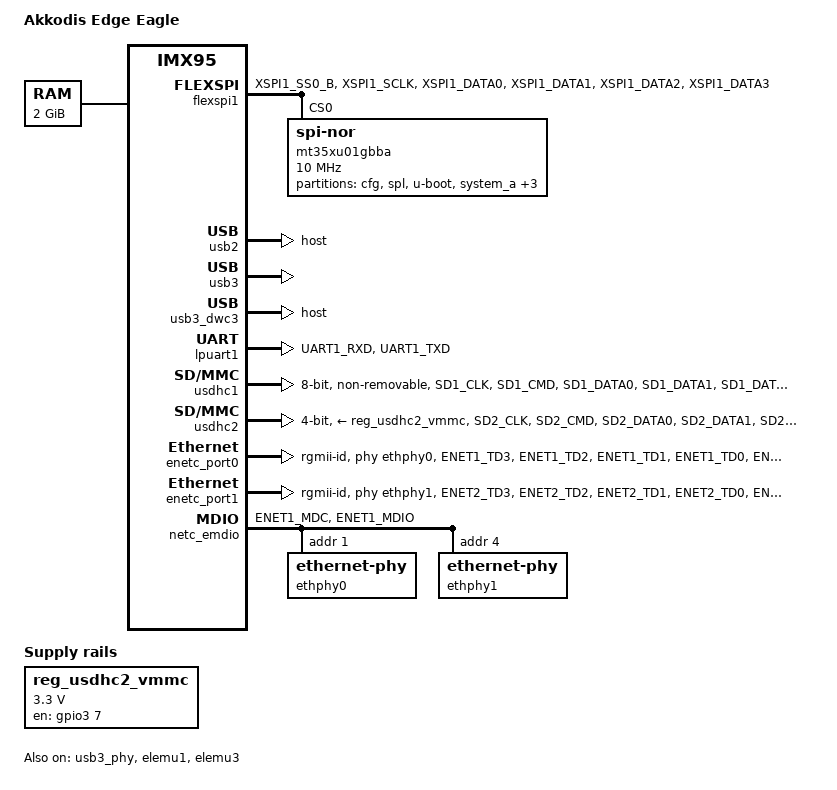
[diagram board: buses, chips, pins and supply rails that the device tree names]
// SPDX-License-Identifier: GPL-2.0+
/*
 * Copyright 2026 Akkodis Edge
 */

/dts-v1/;

#include <dt-bindings/usb/pd.h>
#include "imx95.dtsi"

/ {
	model = "Akkodis Edge Eagle";
	compatible = "ake,eagle", "fsl,imx95";

	chosen {
		stdout-path = &lpuart1;
	};

	memory@80000000 {
		device_type = "memory";
		reg = <0x0 0x80000000 0 0x80000000>;
	};

	reg_usdhc2_vmmc: regulator-usdhc2 {
		compatible = "regulator-fixed";
		pinctrl-names = "default";
		pinctrl-0 = <&pinctrl_reg_usdhc2_vmmc>;
		regulator-name = "VDD_SD2_3V3";
		regulator-min-microvolt = <3300000>;
		regulator-max-microvolt = <3300000>;
		gpio = <&gpio3 7 GPIO_ACTIVE_HIGH>;
		off-on-delay-us = <12000>;
		enable-active-high;
	};
};

&flexspi1 {
	pinctrl-names = "default";
	pinctrl-0 = <&pinctrl_flexspi1>;
	status = "okay";

	mt35xu01gbba: flash@0 {
		reg = <0>;
		#address-cells = <1>;
		#size-cells = <1>;
		compatible = "jedec,spi-nor";
		/*
		 * FIXME: Limit to fairly low frequency to start with,
		 * come back here and find a higher and stable
		 * frequency.
		 */
		spi-max-frequency = <10000000>;
		spi-tx-bus-width = <1>;
		spi-rx-bus-width = <1>;

		partitions {
			compatible = "fixed-partitions";
			#address-cells = <1>;
			#size-cells = <1>;

			cfg@0 {
				/*
				 * 0x0 OFTAD key blob
				 * 0x400 FlexSPI Config Block
				 */
				label = "cfg";
				reg = <0x000000 0x001000>;
			};
			spl@1000 {
				label = "spl";
				reg = <0x001000 0x1ff000>;
			};
			u-boot@200000 {
				label = "u-boot";
				reg = <0x200000 0x200000>;
			};
			system_a@400000 {
				label = "system_a";
				reg = <0x400000 0x010000>;
			};
			system_b@410000 {
				label = "system_b";
				reg = <0x410000 0x010000>;
			};
			user_a@420000 {
				label = "user_a";
				reg = <0x420000 0x010000>;
			};
			user_b@430000 {
				label = "user_b";
				reg = <0x430000 0x010000>;
			};
		};
	};
};

&usb2 {
	compatible = "fsl,imx8mm-usb", "fsl,imx7d-usb";
	dr_mode = "host";
	hnp-disable;
	srp-disable;
	adp-disable;
	disable-over-current;
	status = "okay";
	/delete-property/power-domains;
};

&usb3 {
	status = "okay";
	/delete-property/power-domains;
};

&usb3_phy {
	status = "okay";
};

&usb3_dwc3 {
	compatible = "fsl,imx95a-dwc3", "fsl,imx8mq-dwc3", "snps,dwc3";
	dr_mode = "host";
	hnp-disable;
	srp-disable;
	adp-disable;
	usb-role-switch;
	role-switch-default-mode = "none";
	snps,dis-u1-entry-quirk;
	snps,dis-u2-entry-quirk;
	status = "okay";
};

&lpuart1 {
	/* console */
	pinctrl-names = "default";
	pinctrl-0 = <&pinctrl_uart1>;
	clocks = <&scmi_clk IMX95_CLK_LPUART1>, <&scmi_clk IMX95_CLK_LPUART1>;
	clock-names = "ipg", "per";
	status = "okay";
};

&usdhc1 {
	pinctrl-names = "default", "state_100mhz", "state_200mhz";
	pinctrl-0 = <&pinctrl_usdhc1>;
	pinctrl-1 = <&pinctrl_usdhc1_100mhz>;
	pinctrl-2 = <&pinctrl_usdhc1_200mhz>;
	bus-width = <8>;
	non-removable;
	no-sdio;
	no-sd;
	status = "okay";
};

&usdhc2 {
	pinctrl-names = "default", "state_100mhz", "state_200mhz";
	pinctrl-0 = <&pinctrl_usdhc2>, <&pinctrl_usdhc2_gpio>;
	pinctrl-1 = <&pinctrl_usdhc2_100mhz>, <&pinctrl_usdhc2_gpio>;
	pinctrl-2 = <&pinctrl_usdhc2_200mhz>, <&pinctrl_usdhc2_gpio>;
	cd-gpios = <&gpio3 00 GPIO_ACTIVE_LOW>;
	vmmc-supply = <&reg_usdhc2_vmmc>;
	bus-width = <4>;
	status = "okay";
};

&enetc_port0 {
	pinctrl-names = "default";
	pinctrl-0 = <&pinctrl_enetc0>;
	phy-handle = <&ethphy0>;
	phy-mode = "rgmii-id";
	status = "okay";
};

&enetc_port1 {
	pinctrl-names = "default";
	pinctrl-0 = <&pinctrl_enetc1>;
	phy-handle = <&ethphy1>;
	phy-mode = "rgmii-id";
	status = "okay";
};

&netc_emdio {
	pinctrl-names = "default";
	pinctrl-0 = <&pinctrl_emdio>;
	status = "okay";

	ethphy0: ethernet-phy@1 {
		reg = <1>;
		eee-broken-1000t;
		reset-assert-us = <10000>;
		reset-deassert-us = <80000>;
	};

	ethphy1: ethernet-phy@4 {
		reg = <4>;
		eee-broken-1000t;
		reset-assert-us = <10000>;
		reset-deassert-us = <80000>;
	};
};

&scmi_iomuxc {
	pinctrl_emdio: emdiogrp{
		fsl,pins = <
			IMX95_PAD_ENET1_MDC__NETCMIX_TOP_NETC_MDC		0x57e
			IMX95_PAD_ENET1_MDIO__NETCMIX_TOP_NETC_MDIO		0x97e
		>;
	};

	pinctrl_enetc0: enetc0grp {
		fsl,pins = <
			IMX95_PAD_ENET1_TD3__NETCMIX_TOP_ETH0_RGMII_TD3		0x57e
			IMX95_PAD_ENET1_TD2__NETCMIX_TOP_ETH0_RGMII_TD2		0x57e
			IMX95_PAD_ENET1_TD1__NETCMIX_TOP_ETH0_RGMII_TD1		0x57e
			IMX95_PAD_ENET1_TD0__NETCMIX_TOP_ETH0_RGMII_TD0		0x57e
			IMX95_PAD_ENET1_TX_CTL__NETCMIX_TOP_ETH0_RGMII_TX_CTL	0x57e
			IMX95_PAD_ENET1_TXC__NETCMIX_TOP_ETH0_RGMII_TX_CLK	0x5fe
			IMX95_PAD_ENET1_RX_CTL__NETCMIX_TOP_ETH0_RGMII_RX_CTL	0x57e
			IMX95_PAD_ENET1_RXC__NETCMIX_TOP_ETH0_RGMII_RX_CLK	0x5fe
			IMX95_PAD_ENET1_RD0__NETCMIX_TOP_ETH0_RGMII_RD0		0x57e
			IMX95_PAD_ENET1_RD1__NETCMIX_TOP_ETH0_RGMII_RD1		0x57e
			IMX95_PAD_ENET1_RD2__NETCMIX_TOP_ETH0_RGMII_RD2		0x57e
			IMX95_PAD_ENET1_RD3__NETCMIX_TOP_ETH0_RGMII_RD3		0x57e
		>;
	};

	pinctrl_enetc1: enetc1grp {
		fsl,pins = <
			IMX95_PAD_ENET2_TD3__NETCMIX_TOP_ETH1_RGMII_TD3		0x57e
			IMX95_PAD_ENET2_TD2__NETCMIX_TOP_ETH1_RGMII_TD2		0x57e
			IMX95_PAD_ENET2_TD1__NETCMIX_TOP_ETH1_RGMII_TD1		0x57e
			IMX95_PAD_ENET2_TD0__NETCMIX_TOP_ETH1_RGMII_TD0		0x57e
			IMX95_PAD_ENET2_TX_CTL__NETCMIX_TOP_ETH1_RGMII_TX_CTL	0x57e
			IMX95_PAD_ENET2_TXC__NETCMIX_TOP_ETH1_RGMII_TX_CLK	0x5fe
			IMX95_PAD_ENET2_RX_CTL__NETCMIX_TOP_ETH1_RGMII_RX_CTL	0x57e
			IMX95_PAD_ENET2_RXC__NETCMIX_TOP_ETH1_RGMII_RX_CLK	0x5fe
			IMX95_PAD_ENET2_RD0__NETCMIX_TOP_ETH1_RGMII_RD0		0x57e
			IMX95_PAD_ENET2_RD1__NETCMIX_TOP_ETH1_RGMII_RD1		0x57e
			IMX95_PAD_ENET2_RD2__NETCMIX_TOP_ETH1_RGMII_RD2		0x57e
			IMX95_PAD_ENET2_RD3__NETCMIX_TOP_ETH1_RGMII_RD3		0x57e
		>;
	};

	pinctrl_uart1: uart1grp {
		fsl,pins = <
			IMX95_PAD_UART1_RXD__AONMIX_TOP_LPUART1_RX      0x31e
			IMX95_PAD_UART1_TXD__AONMIX_TOP_LPUART1_TX      0x31e
		>;
	};

	pinctrl_flexspi1: flexspi1grp {
		fsl,pins = <
			IMX95_PAD_XSPI1_SS0_B__FLEXSPI1_A_SS0_B			0x3fe
			IMX95_PAD_XSPI1_SCLK__FLEXSPI1_A_SCLK			0x3fe
			IMX95_PAD_XSPI1_DATA0__FLEXSPI1_A_DATA_BIT0		0x3fe
			IMX95_PAD_XSPI1_DATA1__FLEXSPI1_A_DATA_BIT1		0x3fe
			IMX95_PAD_XSPI1_DATA2__FLEXSPI1_A_DATA_BIT2		0x3fe
			IMX95_PAD_XSPI1_DATA3__FLEXSPI1_A_DATA_BIT3		0x3fe
		>;
	};

	pinctrl_usdhc1: usdhc1grp {
		fsl,pins = <
			IMX95_PAD_SD1_CLK__USDHC1_CLK				0x158e
			IMX95_PAD_SD1_CMD__USDHC1_CMD				0x138e
			IMX95_PAD_SD1_DATA0__USDHC1_DATA0			0x138e
			IMX95_PAD_SD1_DATA1__USDHC1_DATA1			0x138e
			IMX95_PAD_SD1_DATA2__USDHC1_DATA2			0x138e
			IMX95_PAD_SD1_DATA3__USDHC1_DATA3			0x138e
			IMX95_PAD_SD1_DATA4__USDHC1_DATA4			0x138e
			IMX95_PAD_SD1_DATA5__USDHC1_DATA5			0x138e
			IMX95_PAD_SD1_DATA6__USDHC1_DATA6			0x138e
			IMX95_PAD_SD1_DATA7__USDHC1_DATA7			0x138e
			IMX95_PAD_SD1_STROBE__USDHC1_STROBE			0x158e
		>;
	};

	pinctrl_usdhc1_100mhz: usdhc1-100mhzgrp {
		fsl,pins = <
			IMX95_PAD_SD1_CLK__USDHC1_CLK				0x158e
			IMX95_PAD_SD1_CMD__USDHC1_CMD				0x138e
			IMX95_PAD_SD1_DATA0__USDHC1_DATA0			0x138e
			IMX95_PAD_SD1_DATA1__USDHC1_DATA1			0x138e
			IMX95_PAD_SD1_DATA2__USDHC1_DATA2			0x138e
			IMX95_PAD_SD1_DATA3__USDHC1_DATA3			0x138e
			IMX95_PAD_SD1_DATA4__USDHC1_DATA4			0x138e
			IMX95_PAD_SD1_DATA5__USDHC1_DATA5			0x138e
			IMX95_PAD_SD1_DATA6__USDHC1_DATA6			0x138e
			IMX95_PAD_SD1_DATA7__USDHC1_DATA7			0x138e
			IMX95_PAD_SD1_STROBE__USDHC1_STROBE			0x158e
		>;
	};

	pinctrl_usdhc1_200mhz: usdhc1-200mhzgrp {
		fsl,pins = <
			IMX95_PAD_SD1_CLK__USDHC1_CLK				0x15fe
			IMX95_PAD_SD1_CMD__USDHC1_CMD				0x13fe
			IMX95_PAD_SD1_DATA0__USDHC1_DATA0			0x13fe
			IMX95_PAD_SD1_DATA1__USDHC1_DATA1			0x13fe
			IMX95_PAD_SD1_DATA2__USDHC1_DATA2			0x13fe
			IMX95_PAD_SD1_DATA3__USDHC1_DATA3			0x13fe
			IMX95_PAD_SD1_DATA4__USDHC1_DATA4			0x13fe
			IMX95_PAD_SD1_DATA5__USDHC1_DATA5			0x13fe
			IMX95_PAD_SD1_DATA6__USDHC1_DATA6			0x13fe
			IMX95_PAD_SD1_DATA7__USDHC1_DATA7			0x13fe
			IMX95_PAD_SD1_STROBE__USDHC1_STROBE			0x15fe
		>;
	};

	pinctrl_reg_usdhc2_vmmc: regusdhc2vmmcgrp {
		fsl,pins = <
			IMX95_PAD_SD2_RESET_B__GPIO3_IO_BIT7			0x31e
		>;
	};

	pinctrl_usdhc2_gpio: usdhc2gpiogrp {
		fsl,pins = <
			IMX95_PAD_SD2_CD_B__GPIO3_IO_BIT0			0x31e
		>;
	};

	pinctrl_usdhc2: usdhc2grp {
		fsl,pins = <
			IMX95_PAD_SD2_CLK__USDHC2_CLK				0x158e
			IMX95_PAD_SD2_CMD__USDHC2_CMD				0x138e
			IMX95_PAD_SD2_DATA0__USDHC2_DATA0			0x138e
			IMX95_PAD_SD2_DATA1__USDHC2_DATA1			0x138e
			IMX95_PAD_SD2_DATA2__USDHC2_DATA2			0x138e
			IMX95_PAD_SD2_DATA3__USDHC2_DATA3			0x138e
			IMX95_PAD_SD2_VSELECT__USDHC2_VSELECT			0x51e
		>;
	};

	pinctrl_usdhc2_100mhz: usdhc2-100mhzgrp {
		fsl,pins = <
			IMX95_PAD_SD2_CLK__USDHC2_CLK				0x158e
			IMX95_PAD_SD2_CMD__USDHC2_CMD				0x138e
			IMX95_PAD_SD2_DATA0__USDHC2_DATA0			0x138e
			IMX95_PAD_SD2_DATA1__USDHC2_DATA1			0x138e
			IMX95_PAD_SD2_DATA2__USDHC2_DATA2			0x138e
			IMX95_PAD_SD2_DATA3__USDHC2_DATA3			0x138e
			IMX95_PAD_SD2_VSELECT__USDHC2_VSELECT			0x51e
		>;
	};

	pinctrl_usdhc2_200mhz: usdhc2-200mhzgrp {
		fsl,pins = <
			IMX95_PAD_SD2_CLK__USDHC2_CLK				0x15fe
			IMX95_PAD_SD2_CMD__USDHC2_CMD				0x13fe
			IMX95_PAD_SD2_DATA0__USDHC2_DATA0			0x13fe
			IMX95_PAD_SD2_DATA1__USDHC2_DATA1			0x13fe
			IMX95_PAD_SD2_DATA2__USDHC2_DATA2			0x13fe
			IMX95_PAD_SD2_DATA3__USDHC2_DATA3			0x13fe
			IMX95_PAD_SD2_VSELECT__USDHC2_VSELECT			0x51e
		>;
	};
};

&gpio2 {
	reg = <0 0x43810000 0 0x1000>, <0 0x43810040 0 0x40>;
};

&gpio3 {
	reg = <0 0x43820000 0 0x1000>, <0 0x43820040 0 0x40>;
};

&gpio4 {
	reg = <0 0x43840000 0 0x1000>, <0 0x43840040 0 0x40>;
};

&gpio5 {
	reg = <0 0x43850000 0 0x1000>, <0 0x43850040 0 0x40>;
};

&{/firmware/scmi/protocol@19} {
	bootph-all;
	bootph-pre-ram;

	pinctrl-names = "default";
	pinctrl-0 = <&pinctrl_hog>;

	pinctrl_hog: hoggrp {
		bootph-pre-ram;

		fsl,pins = <
			IMX95_PAD_XSPI1_SS1_B__GPIO5_IO_BIT11			0x3fe
			IMX95_PAD_GPIO_IO12__TPM3_CH2           0x51e
			IMX95_PAD_CCM_CLKO1__GPIO3_IO_BIT26			0x3fe
			IMX95_PAD_CCM_CLKO2__GPIO3_IO_BIT27			0x3fe
		>;
	};
};

&elemu1 {
	status = "okay";
	bootph-all;
	bootph-pre-ram;
};

&elemu3 {
	status = "okay";
	bootph-all;
	bootph-pre-ram;
};

&dispmix_csr {
	/delete-property/ assigned-clocks;
	/delete-property/ assigned-clock-rates;
	/delete-property/ assigned-clock-parents;
};

&mipi_dsi {
	assigned-clocks = <&scmi_clk IMX95_CLK_MIPIPHYPLLBYPASS>;
	assigned-clock-parents = <&scmi_clk IMX95_CLK_VIDEOPLL1>;
};
